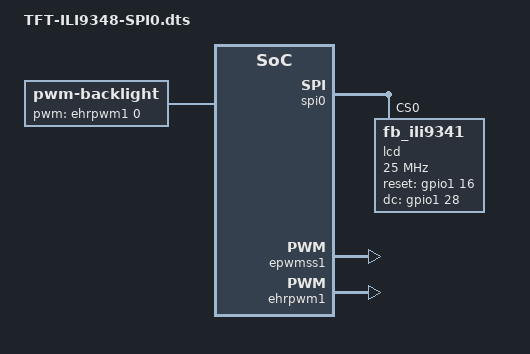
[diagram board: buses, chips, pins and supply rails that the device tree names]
/*
 * SPI-based ILI9341 LCD device tree for a generic LCD display using the Beaglebone black SPI0.
 *
 * Build
 *  dtc -O dtb -o TFT-ILI9348-SPI0.dtbo -b 0 -@ TFT-ILI9348-SPI0.dts
 *
 * Install
 *  sudo cp TFT-ILI9348-SPI0.dtbo /lib/firmware
 *  edit /boot/uEnv.txt as root and replace the ###Custom Cape line as shown below
 *
 *   ###Custom Cape
 *   dtb_overlay=/lib/firmware/TFT-ILI9348-SPI0.dtbo
 *
 * Reboot and you should be rewarded by a lit LCD and a /dev/fb0 entry for your pleasure.
 *
 * Based on the work by:
 *
 * Copyright (C) 2015 Bruce Wilson
 * Electrodragon 2.2" LCD SPI TFT
 * http://www.electrodragon.com/product/eds-tft-lcd-lcm-spi-interface-variable1-82-2/
 * This program is free software; you can redistribute it and/or modify
 * it under the terms of the GNU General Public License version 2 as
 * published by the Free Software Foundation.
 */
/dts-v1/;
/plugin/;
/ {
compatible = "ti,beaglebone", "ti,beaglebone-black";

/* identification */
part-number = "TFT-ILI9348-SPI0";

/* version */
version = "00A0";

/* stat the resources this cape uses */
exclusive-use = 
	/* the pin header uses */
	"P9.22",	/* spi0_sclk */
	"P9.21",	/* spi0_d0 - MISO */
	"P9.18",	/* spi0_d1 - MOSI */
	"P9.17",	/* spi0_cs0 */
	"P9.15",	/* gpio1_16 - reset */
	"P9.12",	/* gpio1_28 - dc */
	"P9.14",	/* ehrpwm1a - backlight */
	/* the hardware ip uses */
	"gpio1_16",
	"gpio1_28",
	"ehrpwm1a",
	"spi0";

fragment@0 {
	target = <&am33xx_pinmux>;
	__overlay__ {
		spi0_pins_s0: spi0_pins_s0 {
			pinctrl-single,pins = <
				0x150 0x30	/* P9_22: spi0_sclk, INPUT_PULLUP | MODE0 */
				0x154 0x30	/* P9_21: spi0_d0 MISO, INPUT_PULLUP | MODE0 */
				0x158 0x10	/* P9_18: spi0_d1 MOSI, OUTPUT_PULLUP | MODE0 */
				0x15c 0x10	/* P9_17: spi0_cs0, OUTPUT_PULLUP | MODE0 */
			>;
		};

		lcd_ctrl_pinmux: lcd_ctrl_pins {
			pinctrl-single,pins = <
				0x040 0x17	/* P9_15: gpio1_16 reset, OUTPUT_PULLUP | MODE7 */
				0x078 0x17	/* P9_12: gpio1_28 DC, OUTPUT_PULLUP | MODE7 */
			>;
		};

		pwm_bl_pins: pinmux_pwm_bl_pins {
			pinctrl-single,pins = <
				0x48 0x06	/* P9_14: ehrpwm1a, MODE6 */
			>;
		};
	};
};

fragment@1 {
	target = <&spi0>;
	__overlay__ {
		status = "okay";
		pinctrl-names = "default";
		pinctrl-0 = <&spi0_pins_s0>;

		#address-cells = <1>;
		#size-cells = <0>;

		lcd@0{
			compatible = "fb_ili9341";
			reg = <0>;

			pinctrl-names = "default";
			pinctrl-0 = <&lcd_ctrl_pinmux>;

			spi-max-frequency = <25000000>;
			rotate = <90>;
			bgr;
			fps = <30>;
			buswidth = <8>;
			reset-gpios = <&gpio1 16 0>;
			dc-gpios = <&gpio1 28 0>;

			debug = <3>;
		};
	};
};

fragment@2 {
	target = <&epwmss1>;
	__overlay__ {
		status = "okay";
	};
};

fragment@3 {
	target = <&ehrpwm1>;
	__overlay__ {
		status = "okay";
	};
};

fragment@4 {
	target = <&ocp>;
	__overlay__ {
		backlight {
			compatible = "pwm-backlight";
			pinctrl-names = "default";
			pinctrl-0 = <&pwm_bl_pins>;
			status = "okay";

			pwms = <&ehrpwm1 0 500000 0>;
			pwm-names = "backlight";
			brightness-levels = <0 4 8 16 32 64 128 255>;
			default-brightness-level = <7>; /* index to the array above */
		};
	};
};
};
